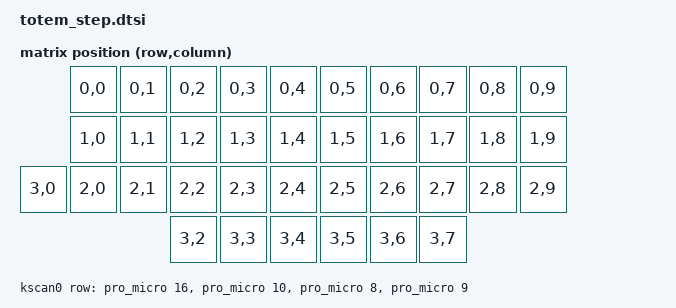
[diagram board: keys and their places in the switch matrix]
#include <dt-bindings/zmk/matrix_transform.h>

/ {
    chosen {
        zmk,physical-layout = &default_layout;
        zmk,studio-rpc-uart = &uart1;
    };

    // New node to fix the "undefined node label 'key_physical_attrs'" error
    key_physical_attrs: key_physical_attrs {
        compatible = "zmk,key-physical-attrs";
				#key-cells = <7>;
    };

    default_transform: default_transform {
        compatible = "zmk,matrix-transform";
        columns = <10>;
        rows = <4>;
//        | SW1  | SW2  | SW3  | SW4  | SW5  |      | SW5  | SW4  | SW3  | SW2  | SW1  |
//        | SW6  | SW7  | SW8  | SW9  | SW10 |      | SW10 | SW9  | SW8  | SW7  | SW6  |
// | SW16 | SW11 | SW12 | SW13 | SW14 | SW15 |      | SW15 | SW14 | SW13 | SW12 | SW11 | SW16 |
//                      | SW17 | SW18 | SW19 |      | SW19 | SW18 | SW17 |
        map = <
        RC(0,0) RC(0,1) RC(0,2) RC(0,3) RC(0,4)  RC(0,5) RC(0,6) RC(0,7) RC(0,8) RC(0,9)
        RC(1,0) RC(1,1) RC(1,2) RC(1,3) RC(1,4)  RC(1,5) RC(1,6) RC(1,7) RC(1,8) RC(1,9)
RC(3,0) RC(2,0) RC(2,1) RC(2,2) RC(2,3) RC(2,4)  RC(2,5) RC(2,6) RC(2,7) RC(2,8) RC(2,9) R(3,9)
                        RC(3,2) RC(3,3) RC(3,4)  RC(3,5) RC(3,6) RC(3,7)
        >;
    };

    kscan0: kscan {
        compatible = "zmk,kscan-gpio-matrix";
        wakeup-source;
        diode-direction = "col2row";
        row-gpios 
            = <&pro_micro 16 (GPIO_ACTIVE_HIGH | GPIO_PULL_DOWN)>
            , <&pro_micro 10 (GPIO_ACTIVE_HIGH | GPIO_PULL_DOWN)>
            , <&pro_micro 8  (GPIO_ACTIVE_HIGH | GPIO_PULL_DOWN)>
            , <&pro_micro 9  (GPIO_ACTIVE_HIGH | GPIO_PULL_DOWN)>
            ;
    };

    tps43_input: tps43_input {
        compatible = "zmk,input-listener";
        status = "disabled";
        device = <&tps43>;
    };

    &pro_micro_i2c {
    status = "okay";
    tps43: iqs5xx@74 {
        status = "okay";
        compatible = "azoteq,iqs5xx";
        reg = <0x74>;

        one-finger-tap;
        press-and-hold;
        press-and-hold-time = <250>;
        two-finger-tap;

        scroll;
        natural-scroll-y;
        natural-scroll-x;

        bottom-beta = <5>;
        stationary-threshold = <5>;

        switch-xy;

        reset-gpios = <&pro_micro 20 GPIO_ACTIVE_LOW>;
        rdy-gpios = <&pro_micro 21 GPIO_ACTIVE_HIGH>;
    };

    default_layout: default_layout {
        compatible = "zmk,physical-layout";
        display-name = "Default";
        
        transform = <&default_transform>;
        kscan = <&kscan0>;
        
        // Corrected the DTS syntax: used '=' only once, then ',' for continuation.
        keys
            = <&key_physical_attrs 100 100 100  0 0 0 0>
            , <&key_physical_attrs 100 100 200  0 0 0 0>
            , <&key_physical_attrs 100 100 300  0 0 0 0>
            , <&key_physical_attrs 100 100 400  0 0 0 0>
            , <&key_physical_attrs 100 100 500  0 0 0 0>
            , <&key_physical_attrs 100 100 1000 0 0 0 0>
            , <&key_physical_attrs 100 100 1100 0 0 0 0>
            , <&key_physical_attrs 100 100 1200 0 0 0 0>
            , <&key_physical_attrs 100 100 1300 0 0 0 0>
            , <&key_physical_attrs 100 100 1400 0 0 0 0>

            , <&key_physical_attrs 100 100 100  100 0 0 0>
            , <&key_physical_attrs 100 100 200  100 0 0 0>
            , <&key_physical_attrs 100 100 300  100 0 0 0>
            , <&key_physical_attrs 100 100 400  100 0 0 0>
            , <&key_physical_attrs 100 100 500  100 0 0 0>
            , <&key_physical_attrs 100 100 1000 100 0 0 0>
            , <&key_physical_attrs 100 100 1100 100 0 0 0>
            , <&key_physical_attrs 100 100 1200 100 0 0 0>
            , <&key_physical_attrs 100 100 1300 100 0 0 0>
            , <&key_physical_attrs 100 100 1400 100 0 0 0>

            , <&key_physical_attrs 100 100 0    200 0 0 0>
            , <&key_physical_attrs 100 100 100  200 0 0 0>
            , <&key_physical_attrs 100 100 200  200 0 0 0>
            , <&key_physical_attrs 100 100 300  200 0 0 0>
            , <&key_physical_attrs 100 100 400  200 0 0 0>
            , <&key_physical_attrs 100 100 500  200 0 0 0>            
            , <&key_physical_attrs 100 100 1000 200 0 0 0>
            , <&key_physical_attrs 100 100 1100 200 0 0 0>
            , <&key_physical_attrs 100 100 1200 200 0 0 0>
            , <&key_physical_attrs 100 100 1300 200 0 0 0>
            , <&key_physical_attrs 100 100 1400 200 0 0 0>
            , <&key_physical_attrs 100 100 1500 200 0 0 0>

            , <&key_physical_attrs 100 100 400  300 0 0 0>
            , <&key_physical_attrs 100 100 500  300 0 0 0>
            , <&key_physical_attrs 100 100 600  300 0 0 0>
            , <&key_physical_attrs 100 100 900  300 0 0 0>
            , <&key_physical_attrs 100 100 1000 300 0 0 0>            
            , <&key_physical_attrs 100 100 1100 300 0 0 0>
            ;
    };
};

/ {
    split_inputs {
        #address-cells = <1>;
        #size-cells = <0>;

        tps43_split: tps43_split@74 {
            compatible = "zmk,input-split";
            reg = <0>;
        };
    };
};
